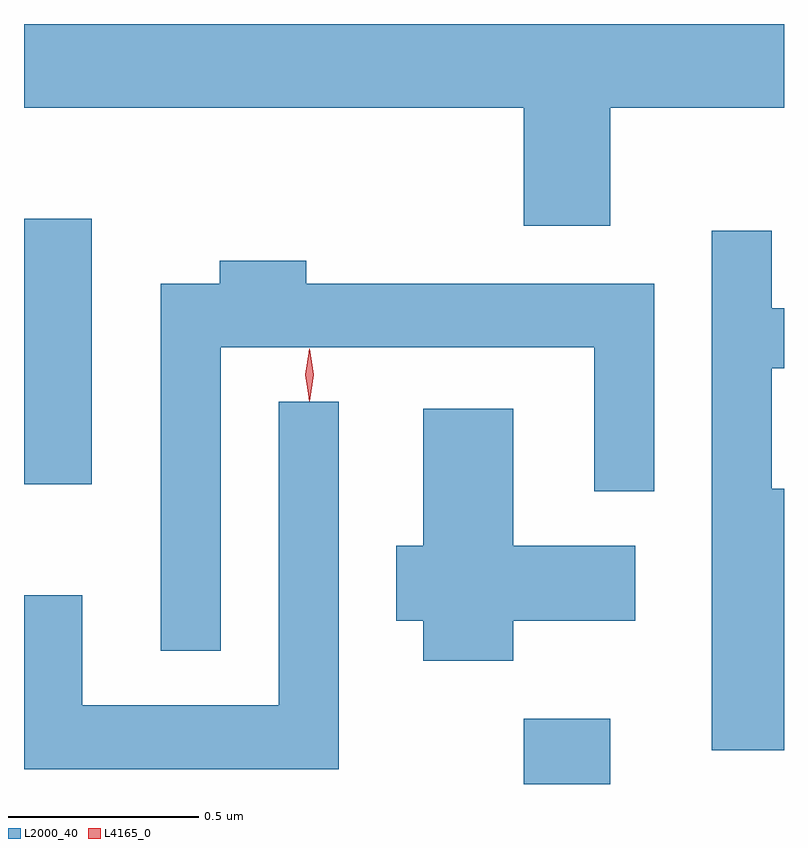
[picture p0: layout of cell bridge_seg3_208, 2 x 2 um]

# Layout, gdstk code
import gdstk
lib = gdstk.Library(unit=1e-6, precision=1e-09)
def R(c, l, rs):  # rectangles x0, y0, x1, y1
    for r in rs: c.add(gdstk.rectangle(r[:2], r[2:], *l))
def P(c, l, *ps):  # polygons
    for p in ps: c.add(gdstk.Polygon(p, *l))
L2000_40 = (2000, 40)
L4165_0 = (4165, 0)

bridge_seg3_208 = lib.new_cell('bridge_seg3_208')
R(bridge_seg3_208, L2000_40, [(1073.181,1150.877,1073.409,1151.049), (1071.866,1151.666,1072.044,1152.364)])
P(bridge_seg3_208, L2000_40, [(1073.409,1152.656),(1073.866,1152.656),(1073.866,1152.877),(1071.866,1152.877),(1071.866,1152.656),(1073.181,1152.656),(1073.181,1152.346),(1073.409,1152.346)],
  [(1073.866,1151.654),(1073.834,1151.654),(1073.834,1151.971),(1073.866,1151.971),(1073.866,1152.129),(1073.834,1152.129),(1073.834,1152.333),(1073.676,1152.333),(1073.676,1150.966),(1073.866,1150.966)],
  [(1072.384,1152.026),(1073.366,1152.026),(1073.366,1151.648),(1073.524,1151.648),(1073.524,1152.194),(1072.609,1152.194),(1072.609,1152.254),(1072.381,1152.254),(1072.381,1152.194),(1072.226,1152.194),(1072.226,1151.228),(1072.384,1151.228)],
  [(1072.694,1151.883),(1072.536,1151.883),(1072.536,1151.084),(1072.019,1151.084),(1072.019,1151.374),(1071.866,1151.374),(1071.866,1150.916),(1072.694,1150.916)],
  [(1073.154,1151.306),(1073.474,1151.306),(1073.474,1151.504),(1073.154,1151.504),(1073.154,1151.864),(1072.916,1151.864),(1072.916,1151.504),(1072.846,1151.504),(1072.846,1151.306),(1072.916,1151.306),(1072.916,1151.201),(1073.154,1151.201)])
P(bridge_seg3_208, L4165_0, [(1072.616,1151.887),(1072.616,1151.888),(1072.606,1151.954),(1072.616,1152.02),(1072.616,1152.021),(1072.617,1152.02),(1072.626,1151.954),(1072.617,1151.888)],
  [(1072.617,1151.884),(1072.608,1151.954),(1072.617,1152.023),(1072.618,1152.023),(1072.618,1152.023),(1072.628,1151.954),(1072.618,1151.884),(1072.618,1151.884)])

lib.write_gds('bridge_seg3_208.gds')
